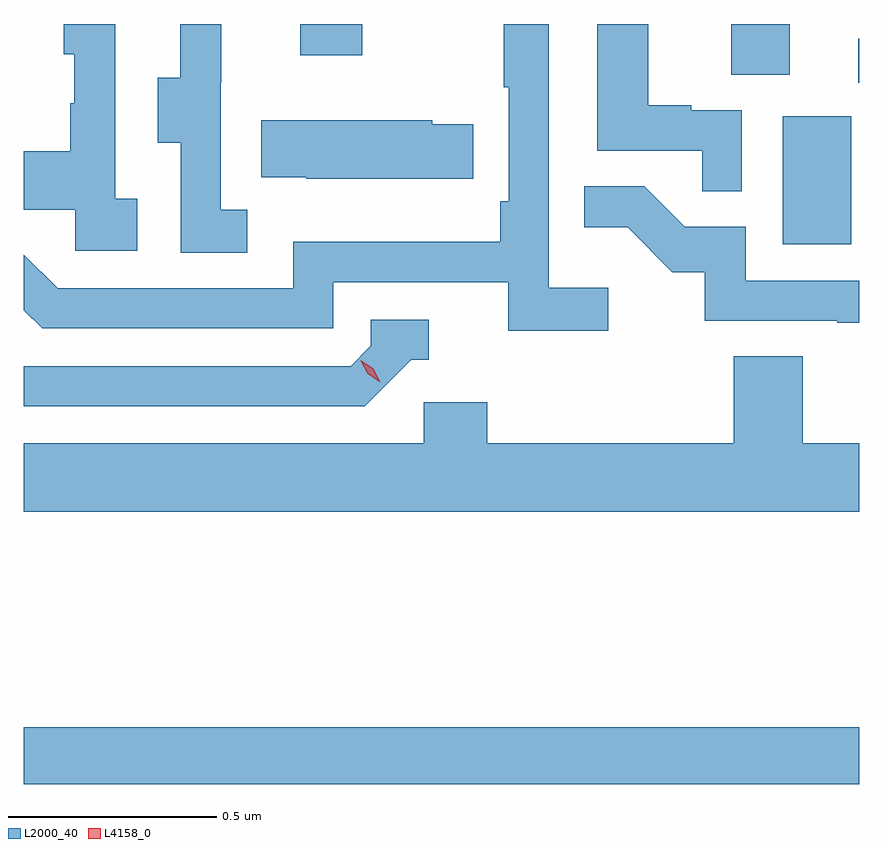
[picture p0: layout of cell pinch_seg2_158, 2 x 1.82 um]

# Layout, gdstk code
import gdstk
lib = gdstk.Library(unit=1e-6, precision=1e-09)
def R(c, l, rs):  # rectangles x0, y0, x1, y1
    for r in rs: c.add(gdstk.rectangle(r[:2], r[2:], *l))
def P(c, l, *ps):  # polygons
    for p in ps: c.add(gdstk.Polygon(p, *l))
L2000_40 = (2000, 40)
L4158_0 = (4158, 0)

pinch_seg2_158 = lib.new_cell('pinch_seg2_158')
R(pinch_seg2_158, L2000_40, [(1139.013,641.656,1141.013,641.792), (1140.83,642.948,1140.994,643.255), (1141.011,643.335,1141.013,643.441), (1140.707,643.354,1140.847,643.476), (1139.675,643.401,1139.823,643.476)])
P(pinch_seg2_158, L2000_40, [(1140.412,642.844),(1140.27,642.844),(1140.27,643.476),(1140.162,643.476),(1140.162,643.324),(1140.174,643.324),(1140.174,643.051),(1140.154,643.051),(1140.154,642.955),(1139.658,642.955),(1139.658,642.843),(1139.094,642.843),(1139.013,642.924),(1139.013,642.791),(1139.057,642.747),(1139.754,642.747),(1139.754,642.858),(1140.173,642.858),(1140.173,642.742),(1140.412,642.742)],
  [(1139.548,643.031),(1139.484,643.031),(1139.484,643.335),(1139.486,643.335),(1139.486,643.476),(1139.387,643.476),(1139.387,643.347),(1139.333,643.347),(1139.333,643.192),(1139.388,643.192),(1139.388,642.928),(1139.548,642.928)],
  [(1139.284,643.058),(1139.232,643.058),(1139.232,643.476),(1139.108,643.476),(1139.108,643.404),(1139.134,643.404),(1139.134,643.286),(1139.124,643.286),(1139.124,643.171),(1139.013,643.171),(1139.013,643.031),(1139.136,643.031),(1139.136,642.933),(1139.284,642.933)],
  [(1140.732,643.269),(1140.611,643.269),(1140.611,643.282),(1140.508,643.282),(1140.508,643.476),(1140.386,643.476),(1140.386,643.173),(1140.637,643.173),(1140.637,643.075),(1140.732,643.075)],
  [(1140.089,643.236),(1139.991,643.236),(1139.991,643.246),(1139.581,643.246),(1139.581,643.109),(1139.689,643.109),(1139.689,643.106),(1140.089,643.106)],
  [(1141.013,642.861),(1140.741,642.861),(1140.741,642.99),(1140.596,642.99),(1140.498,643.088),(1140.355,643.088),(1140.355,642.989),(1140.459,642.989),(1140.566,642.882),(1140.643,642.882),(1140.643,642.765),(1140.961,642.765),(1140.961,642.76),(1141.013,642.76)],
  [(1139.94,642.672),(1139.983,642.672),(1139.983,642.768),(1139.844,642.768),(1139.844,642.705),(1139.796,642.657),(1139.013,642.657),(1139.013,642.561),(1139.829,642.561)],
  [(1141.013,642.472),(1140.878,642.472),(1140.878,642.68),(1140.713,642.68),(1140.713,642.472),(1140.122,642.472),(1140.122,642.57),(1139.97,642.57),(1139.97,642.472),(1139.013,642.472),(1139.013,642.308),(1141.013,642.308)])
P(pinch_seg2_158, L4158_0, [(1139.866,642.618),(1139.836,642.638),(1139.82,642.67),(1139.82,642.671),(1139.82,642.671),(1139.85,642.651),(1139.866,642.618),(1139.866,642.618)])

lib.write_gds('pinch_seg2_158.gds')
